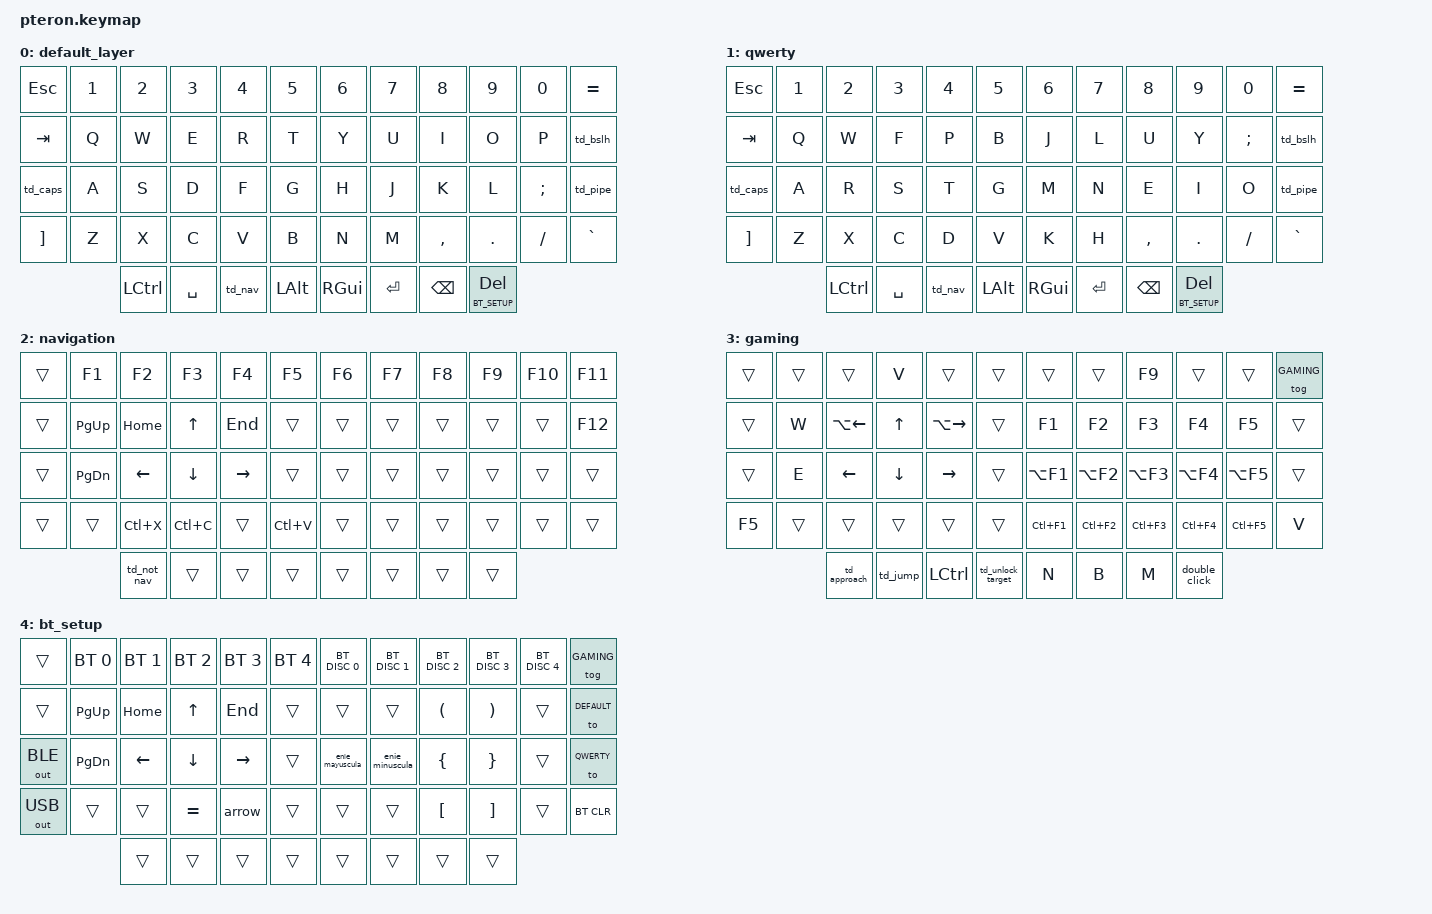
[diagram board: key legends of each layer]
/*
 * Copyright (c) 2021 The ZMK Contributors
 *
 * SPDX-License-Identifier: MIT
 */

#include <behaviors.dtsi>
#include <dt-bindings/zmk/keys.h>
#include <dt-bindings/zmk/bt.h>
#include <dt-bindings/zmk/outputs.h>
#include <dt-bindings/zmk/pointing.h>

#define DEFAULT  0
#define QWERTY   1
#define NAV      2
#define GAMING   3
#define BT_SETUP 4


/ {
    behaviors {
      td_gaming: tap_dance_0 {
          compatible = "zmk,behavior-tap-dance";
          #binding-cells = <0>;
          tapping-term-ms = <200>;
          bindings = <&kp BSPC>, <&to GAMING>;
      };
      td_bt: tap_dance_2 {
          compatible = "zmk,behavior-tap-dance";
          #binding-cells = <0>;
          tapping-term-ms = <200>;
          bindings = <&kp DEL>, <&to BT_SETUP>;
      };
      td_caps: tap_dance_3 {
          compatible = "zmk,behavior-tap-dance";
          #binding-cells = <0>;
          tapping-term-ms = <200>;
          bindings = <&kp LBKT>, <&kp CAPS>;
      };
      td_bslh: tap_dance_4 {
          compatible = "zmk,behavior-tap-dance";
          #binding-cells = <0>;
          tapping-term-ms = <200>;
          bindings = <&kp SQT>, <&kp BSLH>;
      };
      td_pipe: tap_dance_5 {
          compatible = "zmk,behavior-tap-dance";
          #binding-cells = <0>;
          tapping-term-ms = <200>;
          bindings = <&kp MINUS>, <&kp PIPE>;
      };
      td_nav: tap_dance_nav {
          compatible = "zmk,behavior-tap-dance";
          #binding-cells = <0>;
          tapping-term-ms = <200>;
          bindings = <&kp LSHIFT>, <&tog NAV>;
      };
      td_not_nav: tap_dance_not_nav {
          compatible = "zmk,behavior-tap-dance";
          #binding-cells = <0>;
          tapping-term-ms = <200>;
          bindings = <&kp LCTRL>, <&tog NAV>;
      };
      td_not_gaming: tap_dance_not_gaming {
          compatible = "zmk,behavior-tap-dance";
          #binding-cells = <0>;
          tapping-term-ms = <200>;
          bindings = <&kp LCTRL>, <&tog GAMING>;
      };
      td_unlock_target: tap_dance_unlock_target {
          compatible = "zmk,behavior-tap-dance";
          #binding-cells = <0>;
          tapping-term-ms = <200>;
          bindings = <&kp LC(LSHIFT)>, <&kp LC(LA(LSHIFT))>;
      };
      td_approach: tap_dance_approach {
          compatible = "zmk,behavior-tap-dance";
          #binding-cells = <0>;
          tapping-term-ms = <200>;
          bindings = <&kp Q>, <&kp A>;
      };
      td_jump: tap_dance_jump {
          compatible = "zmk,behavior-tap-dance";
          #binding-cells = <0>;
          tapping-term-ms = <200>;
          bindings = <&kp S>, <&kp D>;
      };


      hto: hold_tap_0 {
          compatible = "zmk,behavior-hold-tap";
          #binding-cells = <2>;
          flavor = "hold-preferred";
          tapping-term-ms = <200>;
          bindings = <&kp>, <&to>;
      };
    };

    macros {
      enie_minuscula: enie_minuscula {
        compatible = "zmk,behavior-macro";
        #binding-cells = <0>;
        wait-ms = <30>;
        tap-ms = <40>;
        bindings = <&macro_press   &kp LALT>,
                   <&macro_tap     &kp KP_N0 &kp KP_N2 &kp KP_N4 &kp KP_N1>,
                   <&macro_release &kp LALT>;
      };
      enie_mayuscula: enie_mayuscula {
        compatible = "zmk,behavior-macro";
        #binding-cells = <0>;
        wait-ms = <30>;
        tap-ms = <40>;
        bindings = <&macro_press   &kp LALT>,
                   <&macro_tap     &kp KP_N0 &kp KP_N2 &kp KP_N0 &kp KP_N9>,
                   <&macro_release &kp LALT>;
      };   
      arrow: arrow {
        compatible = "zmk,behavior-macro";
        #binding-cells = <0>;
        wait-ms = <30>;
        tap-ms = <40>;
        bindings = <&macro_tap   &kp EQUAL>,
                   <&macro_tap   &kp GREATER_THAN>;
      };
      double_click: double_click {
        compatible = "zmk,behavior-macro";
        #binding-cells = <0>;
        wait-ms = <50>;
        tap-ms = <50>;
        bindings = <&macro_tap   &mkp LCLK>,
                   <&macro_tap   &mkp LCLK>;
      };
    };

    keymap {
        compatible = "zmk,keymap";

        default_layer {
            bindings = <
&kp ESC   &kp N1  &kp N2     &kp N3     &kp N4              &kp N5        &kp N6    &kp N7      &kp N8     &kp N9            &kp N0    &kp EQUAL     
&kp TAB   &kp Q   &kp W      &kp E      &kp R               &kp T         &kp Y     &kp U       &kp I      &kp O             &kp P     &td_bslh    
&td_caps  &kp A   &kp S      &kp D      &kp F               &kp G         &kp H     &kp J       &kp K      &kp L             &kp SEMI  &td_pipe
&kp RBKT  &kp Z   &kp X      &kp C      &kp V               &kp B         &kp N     &kp M       &kp COMMA  &kp DOT           &kp FSLH  &kp GRAVE     
                  &kp LCTRL  &kp SPACE  &td_nav             &kp LALT      &kp RGUI  &kp ENTER   &kp BSPC   &lt BT_SETUP DEL     
            >;
        };

        qwerty {
            bindings = <
&kp ESC   &kp N1  &kp N2     &kp N3     &kp N4              &kp N5        &kp N6    &kp N7      &kp N8     &kp N9            &kp N0    &kp EQUAL     
&kp TAB   &kp Q   &kp W      &kp F      &kp P               &kp B         &kp J     &kp L       &kp U      &kp Y             &kp SEMI  &td_bslh    
&td_caps  &kp A   &kp R      &kp S      &kp T               &kp G         &kp M     &kp N       &kp E      &kp I             &kp O     &td_pipe
&kp RBKT  &kp Z   &kp X      &kp C      &kp D               &kp V         &kp K     &kp H       &kp COMMA  &kp DOT           &kp FSLH  &kp GRAVE     
                  &kp LCTRL  &kp SPACE  &td_nav             &kp LALT      &kp RGUI  &kp ENTER   &kp BSPC   &lt BT_SETUP DEL     
            >;
        };

        navigation {
            bindings = <
&trans  &kp F1     &kp F2              &kp F3     &kp F4     &kp F5        &kp F6  &kp F7  &kp F8  &kp F9   &kp F10  &kp F11
&trans  &kp PG_UP  &kp HOME            &kp UP     &kp END    &trans        &trans  &trans  &trans  &trans   &trans   &kp F12
&trans  &kp PG_DN  &kp LEFT            &kp DOWN   &kp RIGHT  &trans        &trans  &trans  &trans  &trans   &trans   &trans
&trans  &trans     &kp LC(X)           &kp LC(C)  &trans     &kp LC(V)     &trans  &trans  &trans  &trans   &trans   &trans     
                   &td_not_nav         &trans     &trans     &trans        &trans  &trans  &trans  &trans     
            >;
        };

        gaming {
            bindings = <
&trans  &trans  &trans        &kp V      &trans        &trans               &trans      &trans      &kp F9      &trans       &trans      &tog GAMING
&trans  &kp W   &kp LA(LEFT)  &kp UP     &kp LA(RIGHT) &trans               &kp F1      &kp F2      &kp F3      &kp F4       &kp F5      &trans
&trans  &kp E   &kp LEFT      &kp DOWN   &kp RIGHT     &trans               &kp LA(F1)  &kp LA(F2)  &kp LA(F3)  &kp LA(F4)   &kp LA(F5)  &trans
&kp F5  &trans  &trans        &trans     &trans        &trans               &kp LC(F1)  &kp LC(F2)  &kp LC(F3)  &kp LC(F4)   &kp LC(F5)  &kp V
                &td_approach  &td_jump   &kp LCTRL     &td_unlock_target    &kp N       &kp B       &kp M       &double_click
            >;
        };

        bt_setup {
            bindings = <
&trans          &bt BT_SEL 0  &bt BT_SEL 1  &bt BT_SEL 2  &bt BT_SEL 3  &bt BT_SEL 4    &bt BT_DISC 0    &bt BT_DISC 1    &bt BT_DISC 2  &bt BT_DISC 3  &bt BT_DISC 4  &tog GAMING
&trans          &kp PG_UP     &kp HOME      &kp UP        &kp END       &trans          &trans           &trans           &kp LPAR       &kp RPAR       &trans         &to DEFAULT     
&out OUT_BLE    &kp PG_DN     &kp LEFT      &kp DOWN      &kp RIGHT     &trans          &enie_mayuscula  &enie_minuscula  &kp LBRC       &kp RBRC       &trans         &to QWERTY
&out OUT_USB    &trans        &trans        &kp EQUAL     &arrow        &trans          &trans           &trans           &kp LBKT       &kp RBKT       &trans         &bt BT_CLR
                              &trans        &trans        &trans        &trans          &trans           &trans           &trans         &trans
            >;
        };

    };
};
